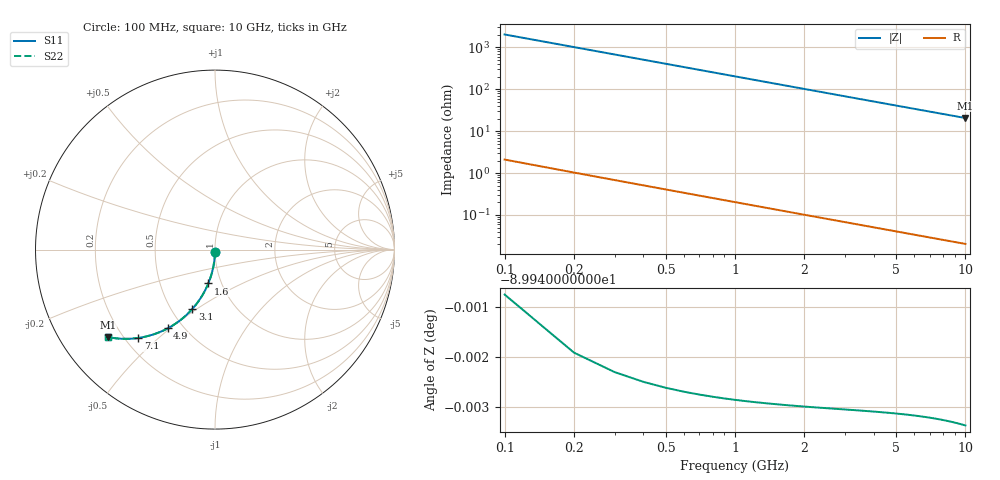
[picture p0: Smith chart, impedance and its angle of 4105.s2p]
# Hz S RI R 50.00
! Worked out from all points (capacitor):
!   100 points, 100 MHz to 10 GHz, reference 50 ohm
!   read as one part in shunt: C = 782 fF near 100 MHz
!   lowest |Z| = 20.7 ohm at 10 GHz (marker M1)
!   S11 on the Smith chart (normalised r, x): 100 MHz: 1.00, -0.02; 1.6 GHz: 0.87, -0.34; 3.1 GHz: 0.64, -0.48; 4.9 GHz: 0.41, -0.49; 7.1 GHz: 0.25, -0.43; 10 GHz: 0.15, -0.35
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1e8  -0.000157 -0.0122  0.9998 -0.0123  0.9998 -0.0123  -0.000157 -0.0122
2e8  -0.000621 -0.0245  0.9994 -0.0246  0.9994 -0.0246  -0.000621 -0.0245
3e8  -0.00138 -0.0367  0.9986 -0.0369  0.9986 -0.0369  -0.00138 -0.0367
4e8  -0.00245 -0.0489  0.9975 -0.0491  0.9975 -0.0491  -0.00245 -0.0489
5e8  -0.00381 -0.061  0.9962 -0.0613  0.9962 -0.0613  -0.00381 -0.061
6e8  -0.00546 -0.0731  0.9945 -0.0734  0.9945 -0.0734  -0.00546 -0.0731
7e8  -0.0074 -0.0851  0.9926 -0.0855  0.9926 -0.0855  -0.0074 -0.0851
9e8  -0.0121 -0.1088  0.9878 -0.1093  0.9878 -0.1093  -0.0121 -0.1088
1.2e9  -0.0213 -0.1437  0.9787 -0.1444  0.9787 -0.1444  -0.0213 -0.1437
1.6e9  -0.0372 -0.1884  0.9628 -0.1893  0.9628 -0.1893  -0.0372 -0.1884
1.8e9  -0.0466 -0.2098  0.9534 -0.2108  0.9534 -0.2108  -0.0466 -0.2098
2.4e9  -0.0797 -0.2697  0.9203 -0.2711  0.9203 -0.2711  -0.0797 -0.2697
3.1e9  -0.126 -0.3305  0.874 -0.3322  0.874 -0.3322  -0.126 -0.3305
3.4e9  -0.1476 -0.3533  0.8524 -0.3552  0.8524 -0.3552  -0.1476 -0.3533
4.1e9  -0.2008 -0.3989  0.7992 -0.4013  0.7992 -0.4013  -0.2008 -0.3989
4.9e9  -0.2636 -0.4387  0.7364 -0.4415  0.7364 -0.4415  -0.2636 -0.4387
5.1e9  -0.2793 -0.4467  0.7207 -0.4496  0.7207 -0.4496  -0.2793 -0.4467
5.9e9  -0.341 -0.4718  0.659 -0.4752  0.659 -0.4752  -0.341 -0.4718
6.7e9  -0.3997 -0.4874  0.6003 -0.4913  0.6003 -0.4913  -0.3997 -0.4874
7.1e9  -0.4275 -0.4922  0.5724 -0.4963  0.5724 -0.4963  -0.4275 -0.4922
8.4e9  -0.5104 -0.497  0.4896 -0.5018  0.4896 -0.5018  -0.5104 -0.497
1e10  -0.5956 -0.4874  0.4044 -0.4932  0.4044 -0.4932  -0.5956 -0.4874
